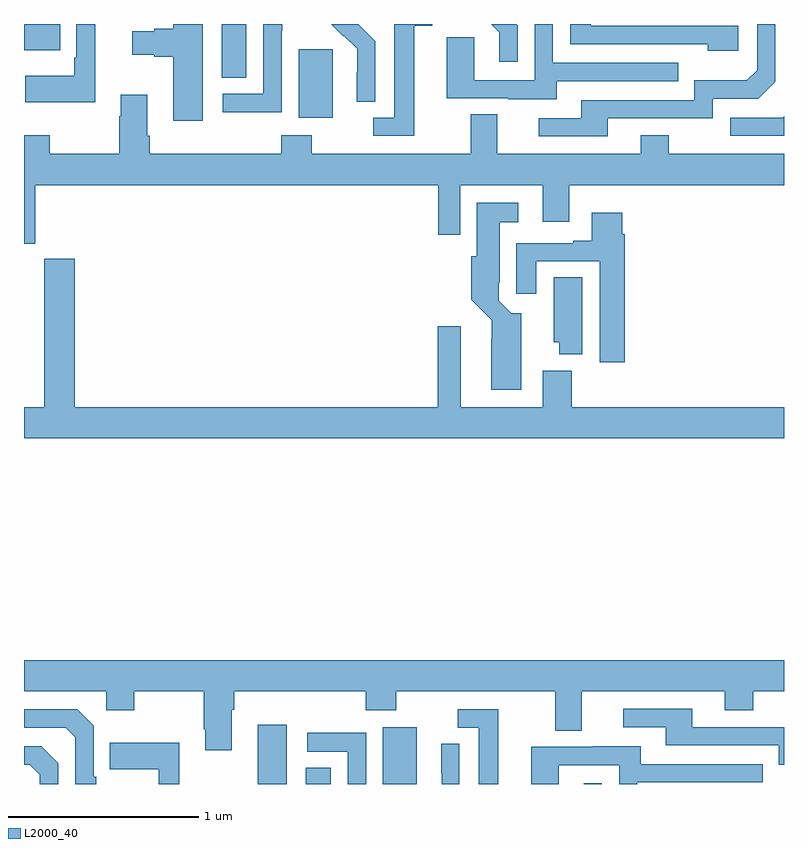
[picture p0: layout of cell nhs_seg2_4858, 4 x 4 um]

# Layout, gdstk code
import gdstk
lib = gdstk.Library(unit=1e-6, precision=1e-09)
def R(c, l, rs):  # rectangles x0, y0, x1, y1
    for r in rs: c.add(gdstk.rectangle(r[:2], r[2:], *l))
def P(c, l, *ps):  # polygons
    for p in ps: c.add(gdstk.Polygon(p, *l))
L2000_40 = (2000, 40)

nhs_seg2_4858 = lib.new_cell('nhs_seg2_4858')
R(nhs_seg2_4858, L2000_40, [(376.229,661.8,376.384,662.113), (376.484,661.8,376.615,661.886), (376.889,661.8,377.068,662.098), (377.945,661.8,378.042,661.804), (376.445,665.306,376.624,665.667), (376.04,665.518,376.171,665.8), (375,665.663,375.191,665.8)])
P(nhs_seg2_4858, L2000_40, [(376.848,665.71),(376.775,665.783),(376.776,665.784),(376.76,665.8),(376.616,665.8),(376.68,665.736),(376.683,665.739),(376.754,665.669),(376.754,665.546),(376.752,665.546),(376.752,665.392),(376.848,665.392)],
  [(376.356,665.764),(376.359,665.764),(376.359,665.8),(376.26,665.8),(376.26,665.433),(376.047,665.433),(376.047,665.335),(376.356,665.335)],
  [(377.803,665.499),(378.443,665.499),(378.443,665.595),(377.784,665.595),(377.784,665.8),(377.688,665.8),(377.688,665.505),(377.37,665.505),(377.37,665.729),(377.225,665.729),(377.225,665.409),(377.549,665.409),(377.549,665.405),(377.803,665.405)],
  [(375.94,665.8),(375.785,665.8),(375.785,665.774),(375.686,665.774),(375.686,665.761),(375.57,665.761),(375.57,665.639),(375.686,665.639),(375.686,665.627),(375.785,665.627),(375.785,665.292),(375.94,665.292)],
  [(378.073,665.304),(378.624,665.304),(378.624,665.406),(378.864,665.406),(378.954,665.496),(378.954,665.8),(378.858,665.8),(378.858,665.556),(378.805,665.503),(378.528,665.503),(378.528,665.4),(377.933,665.4),(377.933,665.304),(377.709,665.304),(377.709,665.208),(378.073,665.208)],
  [(377.598,665.794),(377.592,665.8),(377.458,665.8),(377.501,665.757),(377.501,665.601),(377.598,665.601)],
  [(377.053,665.792),(377.149,665.792),(377.149,665.8),(376.949,665.8),(376.949,665.307),(376.839,665.307),(376.839,665.211),(377.053,665.211)],
  [(375.374,665.8),(375.276,665.8),(375.276,665.623),(375.264,665.623),(375.264,665.527),(375.007,665.527),(375.007,665.387),(375.374,665.387)],
  [(378.76,665.79),(377.983,665.79),(377.983,665.8),(377.874,665.8),(377.874,665.694),(378.599,665.694),(378.599,665.66),(378.76,665.66)],
  [(375.058,664.952),(377.179,664.952),(377.179,664.692),(377.295,664.692),(377.295,664.952),(377.729,664.952),(377.729,664.758),(377.869,664.758),(377.869,664.952),(379,664.952),(379,665.116),(378.393,665.116),(378.393,665.215),(378.245,665.215),(378.245,665.116),(377.491,665.116),(377.491,665.324),(377.351,665.324),(377.351,665.116),(376.515,665.116),(376.515,665.215),(376.355,665.215),(376.355,665.116),(375.662,665.116),(375.662,665.212),(375.649,665.212),(375.649,665.428),(375.509,665.428),(375.509,665.315),(375.502,665.315),(375.502,665.116),(375.135,665.116),(375.135,665.215),(375,665.215),(375,664.643),(375.058,664.643)],
  [(379,665.314),(378.993,665.307),(378.717,665.307),(378.717,665.211),(379,665.211)],
  [(377.617,664.278),(377.565,664.278),(377.499,664.344),(377.499,664.438),(377.503,664.438),(377.503,664.757),(377.602,664.757),(377.602,664.858),(377.384,664.858),(377.384,664.578),(377.354,664.578),(377.354,664.349),(377.463,664.24),(377.463,664.142),(377.459,664.142),(377.459,663.875),(377.617,663.875)],
  [(378.161,664.694),(378.148,664.694),(378.148,664.807),(377.987,664.807),(377.987,664.66),(377.891,664.66),(377.891,664.647),(377.591,664.647),(377.591,664.38),(377.695,664.38),(377.695,664.551),(378.029,664.551),(378.029,664.02),(378.161,664.02)],
  [(379,663.784),(377.882,663.784),(377.882,663.976),(377.729,663.976),(377.729,663.784),(377.299,663.784),(377.299,664.21),(377.177,664.21),(377.177,663.784),(375.266,663.784),(375.266,664.564),(375.106,664.564),(375.106,663.784),(375,663.784),(375,663.62),(379,663.62)],
  [(377.938,664.466),(377.789,664.466),(377.789,664.125),(377.816,664.125),(377.816,664.061),(377.938,664.061)],
  [(375,662.288),(375.432,662.288),(375.432,662.189),(375.579,662.189),(375.579,662.288),(375.946,662.288),(375.946,662.089),(375.953,662.089),(375.953,661.977),(376.093,661.977),(376.093,662.192),(376.106,662.192),(376.106,662.288),(376.799,662.288),(376.799,662.189),(376.959,662.189),(376.959,662.288),(377.795,662.288),(377.795,662.08),(377.935,662.08),(377.935,662.288),(378.689,662.288),(378.689,662.189),(378.837,662.189),(378.837,662.288),(379,662.288),(379,662.452),(375,662.452)],
  [(379,662.1),(378.517,662.1),(378.517,662.196),(378.153,662.196),(378.153,662.1),(378.377,662.1),(378.377,662.004),(378.972,662.004),(378.972,661.901),(379,661.901)],
  [(377.497,662.193),(377.283,662.193),(377.283,662.097),(377.393,662.097),(377.393,661.8),(377.497,661.8)],
  [(375.379,661.837),(375.366,661.837),(375.366,662.106),(375.279,662.193),(375,662.193),(375,662.097),(375.219,662.097),(375.27,662.046),(375.27,661.8),(375.379,661.8)],
  [(376.8,662.07),(376.491,662.07),(376.491,661.971),(376.704,661.971),(376.704,661.8),(376.8,661.8)],
  [(375.818,662.017),(375.451,662.017),(375.451,661.877),(375.708,661.877),(375.708,661.8),(375.818,661.8)],
  [(377.292,662.012),(377.196,662.012),(377.196,661.858),(377.198,661.858),(377.198,661.8),(377.292,661.8)],
  [(377.814,661.899),(378.132,661.899),(378.132,661.8),(378.228,661.8),(378.228,661.809),(378.887,661.809),(378.887,661.905),(378.247,661.905),(378.247,661.999),(377.993,661.999),(377.993,661.995),(377.669,661.995),(377.669,661.8),(377.814,661.8)],
  [(375.18,661.908),(375.09,661.998),(375,661.998),(375,661.901),(375.031,661.901),(375.084,661.848),(375.084,661.8),(375.18,661.8)])

lib.write_gds('nhs_seg2_4858.gds')
